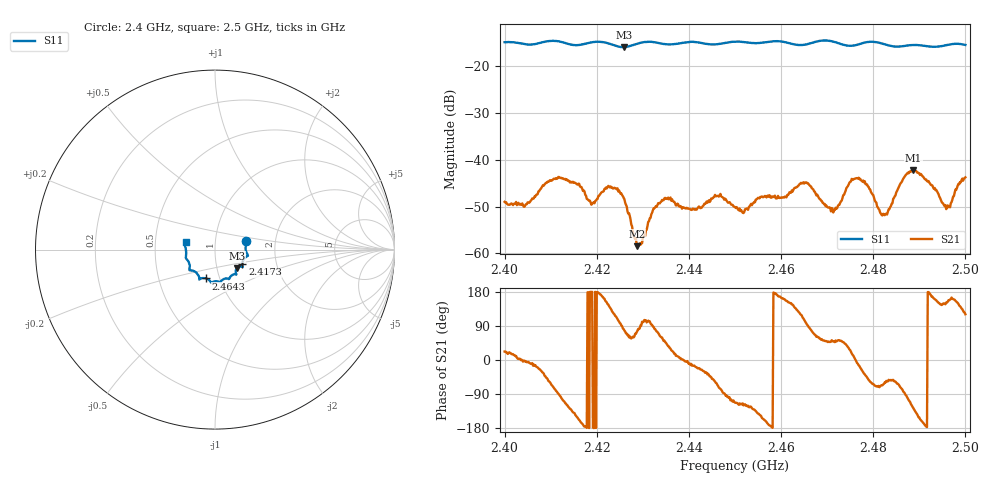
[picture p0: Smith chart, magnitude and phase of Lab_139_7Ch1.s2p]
# Hz S RI R 50
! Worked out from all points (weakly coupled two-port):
!   601 points, 2.4 GHz to 2.5 GHz, reference 50 ohm
!   highest |S21| = -42.15 dB at 2.4887 GHz (marker M1); lowest = -58.4 dB at 2.4287 GHz (marker M2)
!   lowest |S11| = -15.9 dB at 2.4258 GHz (marker M3), VSWR 1.38, Z = 62.3 - j13.3 ohm
!   |S11| at or under -10 dB: start of sweep to end of sweep
!   S12 and S22 are empty: the file has one direction only
!   S11 on the Smith chart (normalised r, x): 2.4 GHz: 1.41, +0.15; 2.4173 GHz: 1.34, -0.23; 2.4643 GHz: 0.86, -0.28; 2.5 GHz: 0.72, +0.06
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2.4e9  0.1732 0.0498  0.00329 0.00136  0 0  0 0
2.4045e9  0.1706 0.0192  0.00328 -0.000255  0 0  0 0
2.4115e9  0.1817 -0.0354  0.000373 -0.00635  0 0  0 0
2.416667e9  0.1528 -0.0747  -0.00497 -0.00124  0 0  0 0
2.417333e9  0.1522 -0.0821  -0.00459 -0.00033  0 0  0 0
2.419167e9  0.1537 -0.0954  -0.00344 -9.89e-05  0 0  0 0
2.422833e9  0.1466 -0.0934  -0.00383 0.00333  0 0  0 0
2.425833e9  0.1216 -0.1038  0.00059 0.00388  0 0  0 0
2.428667e9  0.1156 -0.129  0.000347 0.00115  0 0  0 0
2.433333e9  0.1127 -0.1368  0.00113 0.00326  0 0  0 0
2.441167e9  0.0775 -0.1645  0.00285 -0.000745  0 0  0 0
2.4465e9  0.0439 -0.167  0.00121 -0.00387  0 0  0 0
2.45e9  0.0295 -0.1808  -0.0012 -0.0029  0 0  0 0
2.464333e9  -0.0501 -0.1606  -0.00278 0.00496  0 0  0 0
2.466667e9  -0.0763 -0.1601  0.00125 0.00483  0 0  0 0
2.471333e9  -0.0873 -0.161  0.00178 0.00209  0 0  0 0
2.476667e9  -0.1233 -0.1174  0.00621 -0.00111  0 0  0 0
2.481833e9  -0.1411 -0.1037  0.00103 -0.00236  0 0  0 0
2.483333e9  -0.1408 -0.0896  0.00181 -0.00234  0 0  0 0
2.488667e9  -0.1618 -0.0477  -0.0047 -0.00624  0 0  0 0
2.496167e9  -0.1679 0.021  -0.00293 0.00144  0 0  0 0
2.5e9  -0.1635 0.0419  -0.00332 0.00559  0 0  0 0
